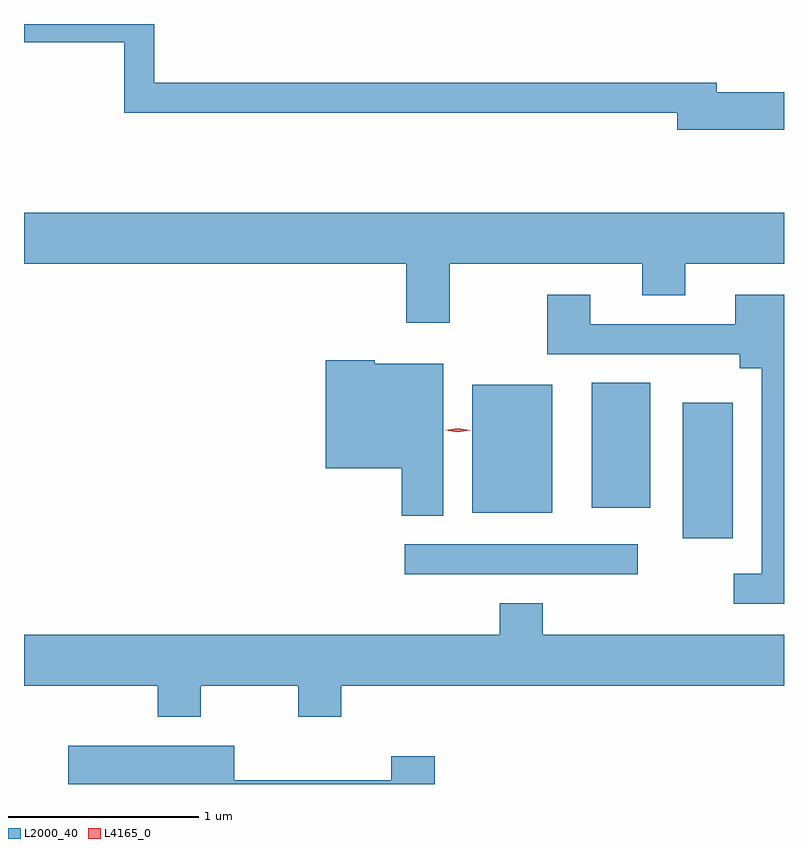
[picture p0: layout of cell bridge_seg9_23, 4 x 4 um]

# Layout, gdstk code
import gdstk
lib = gdstk.Library(unit=1e-6, precision=1e-09)
def R(c, l, rs):  # rectangles x0, y0, x1, y1
    for r in rs: c.add(gdstk.rectangle(r[:2], r[2:], *l))
def P(c, l, *ps):  # polygons
    for p in ps: c.add(gdstk.Polygon(p, *l))
L2000_40 = (2000, 40)
L4165_0 = (4165, 0)

bridge_seg9_23 = lib.new_cell('bridge_seg9_23')
R(bridge_seg9_23, L2000_40, [(1524.003,2027.921,1525.228,2028.079), (1525.466,2028.111,1525.729,2028.824), (1524.356,2028.246,1524.779,2028.919), (1524.986,2028.271,1525.294,2028.929)])
P(bridge_seg9_23, L2000_40, [(1525.998,2030.459),(1525.644,2030.459),(1525.644,2030.509),(1522.684,2030.509),(1522.684,2030.818),(1521.998,2030.818),(1521.998,2030.721),(1522.526,2030.721),(1522.526,2030.351),(1525.436,2030.351),(1525.436,2030.261),(1525.998,2030.261)],
  [(1524.239,2029.556),(1525.251,2029.556),(1525.251,2029.391),(1525.479,2029.391),(1525.479,2029.556),(1525.998,2029.556),(1525.998,2029.824),(1521.998,2029.824),(1521.998,2029.556),(1524.011,2029.556),(1524.011,2029.246),(1524.239,2029.246)],
  [(1525.998,2029.394),(1525.741,2029.394),(1525.741,2029.239),(1524.979,2029.239),(1524.979,2029.394),(1524.751,2029.394),(1524.751,2029.081),(1525.766,2029.081),(1525.766,2029.006),(1525.881,2029.006),(1525.881,2027.924),(1525.733,2027.924),(1525.733,2027.766),(1525.998,2027.766)],
  [(1524.204,2029.029),(1523.844,2029.029),(1523.844,2029.049),(1523.586,2029.049),(1523.586,2028.481),(1523.986,2028.481),(1523.986,2028.231),(1524.204,2028.231)],
  [(1522.929,2027.336),(1523.441,2027.336),(1523.441,2027.171),(1523.669,2027.171),(1523.669,2027.336),(1525.998,2027.336),(1525.998,2027.604),(1524.729,2027.604),(1524.729,2027.769),(1524.501,2027.769),(1524.501,2027.604),(1521.998,2027.604),(1521.998,2027.336),(1522.701,2027.336),(1522.701,2027.171),(1522.929,2027.171)],
  [(1524.159,2026.964),(1523.931,2026.964),(1523.931,2026.839),(1523.104,2026.839),(1523.104,2027.019),(1522.231,2027.019),(1522.231,2026.818),(1524.159,2026.818)])
P(bridge_seg9_23, L4165_0, [(1524.28,2028.67),(1524.214,2028.68),(1524.214,2028.68),(1524.214,2028.681),(1524.28,2028.69),(1524.346,2028.68),(1524.346,2028.679),(1524.346,2028.679)])

lib.write_gds('bridge_seg9_23.gds')
